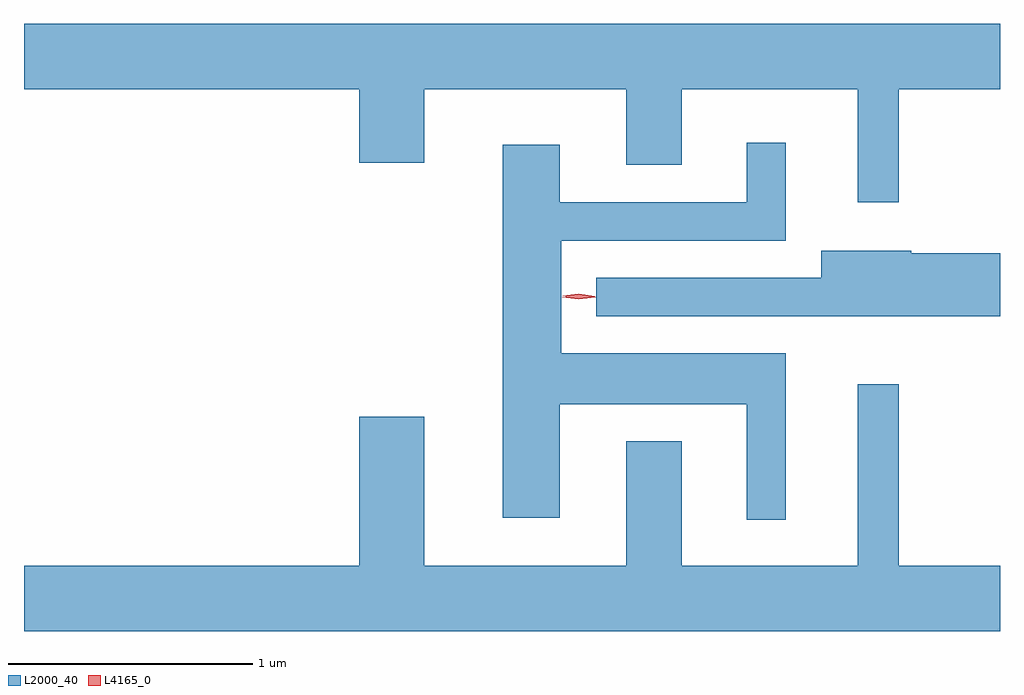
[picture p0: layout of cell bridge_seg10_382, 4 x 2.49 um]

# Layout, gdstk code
import gdstk
lib = gdstk.Library(unit=1e-6, precision=1e-09)
def P(c, l, *ps):  # polygons
    for p in ps: c.add(gdstk.Polygon(p, *l))
L2000_40 = (2000, 40)
L4165_0 = (4165, 0)

bridge_seg10_382 = lib.new_cell('bridge_seg10_382')
P(bridge_seg10_382, L2000_40, [(1316.189,2111.696),(1316.603,2111.696),(1316.603,2111.964),(1312.603,2111.964),(1312.603,2111.696),(1313.976,2111.696),(1313.976,2111.396),(1314.244,2111.396),(1314.244,2111.696),(1315.071,2111.696),(1315.071,2111.386),(1315.299,2111.386),(1315.299,2111.696),(1316.021,2111.696),(1316.021,2111.233),(1316.189,2111.233)],
  [(1315.724,2110.614),(1314.804,2110.614),(1314.804,2111.076),(1315.724,2111.076),(1315.724,2111.478),(1315.566,2111.478),(1315.566,2111.234),(1314.799,2111.234),(1314.799,2111.469),(1314.566,2111.469),(1314.566,2109.941),(1314.799,2109.941),(1314.799,2110.406),(1315.566,2110.406),(1315.566,2109.933),(1315.724,2109.933)],
  [(1316.603,2111.024),(1316.24,2111.024),(1316.24,2111.034),(1315.871,2111.034),(1315.871,2110.924),(1314.948,2110.924),(1314.948,2110.766),(1316.603,2110.766)],
  [(1316.603,2109.744),(1316.189,2109.744),(1316.189,2110.488),(1316.021,2110.488),(1316.021,2109.744),(1315.299,2109.744),(1315.299,2110.254),(1315.071,2110.254),(1315.071,2109.744),(1314.244,2109.744),(1314.244,2110.354),(1313.976,2110.354),(1313.976,2109.744),(1312.603,2109.744),(1312.603,2109.476),(1316.603,2109.476)])
P(bridge_seg10_382, L4165_0, [(1314.877,2110.835),(1314.808,2110.844),(1314.807,2110.845),(1314.808,2110.845),(1314.877,2110.855),(1314.946,2110.845),(1314.946,2110.845),(1314.946,2110.844)],
  [(1314.876,2110.839),(1314.811,2110.85),(1314.81,2110.85),(1314.811,2110.851),(1314.877,2110.859),(1314.942,2110.848),(1314.943,2110.848),(1314.942,2110.847)])

lib.write_gds('bridge_seg10_382.gds')
